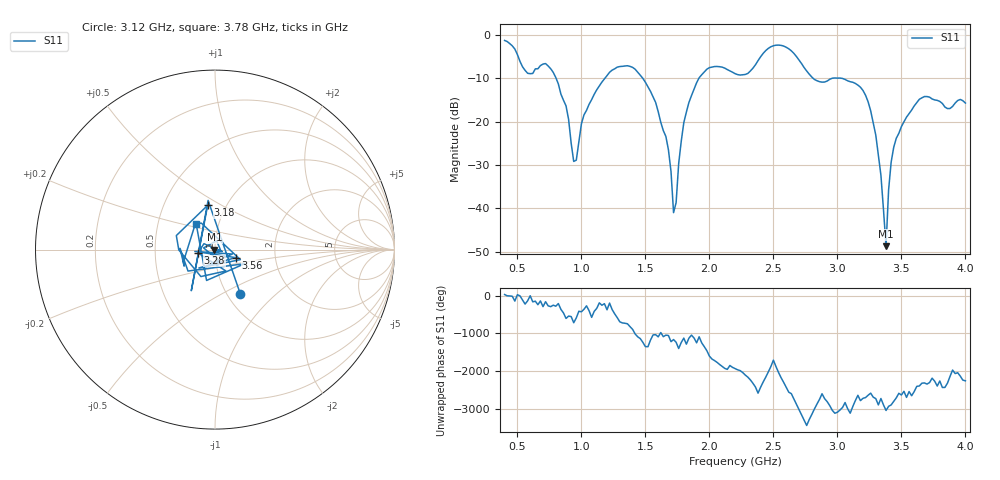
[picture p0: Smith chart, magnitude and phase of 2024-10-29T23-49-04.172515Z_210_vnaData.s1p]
!Created with skrf (http://scikit-rf.org).
# Hz S RI R 50.0
!freq ReS11 ImS11
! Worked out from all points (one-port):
!   181 points, 400 MHz to 4 GHz, reference 50 ohm
!   lowest |S11| = -48.8 dB at 3.38 GHz (marker M1), VSWR 1.01, Z = 49.7 - j0.116 ohm
!   |S11| at or under -10 dB: 802.6 MHz to 1.183 GHz (380.7 MHz wide, 38.3 % of centre); 1.48 GHz to 1.917 GHz (437.4 MHz wide, 25.7 % of centre); 3.036 GHz to end of sweep (the widest 3 of 4)
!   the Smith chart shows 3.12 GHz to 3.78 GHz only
!   S11 on the Smith chart (normalised r, x): 3.12 GHz: 1.15, -0.62; 3.18 GHz: 0.82, +0.43; 3.28 GHz: 0.83, -0.03; 3.56 GHz: 1.25, -0.11; 3.78 GHz: 0.78, +0.23
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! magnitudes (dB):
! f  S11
! 400 MHz  -1.2
! 580 MHz  -8.8
! 740 MHz  -7.1
! 860 MHz  -15.1
! 960 MHz  -28.9
! 1.02 GHz  -18.4
! 1.3 GHz  -7.3
! 1.58 GHz  -15.6
! 1.68 GHz  -26.5
! 1.72 GHz  -41.0
! 1.76 GHz  -29.7
! 1.8 GHz  -20.2
! 1.92 GHz  -9.9
! 2.2 GHz  -8.9
! 2.5 GHz  -2.5
! 2.66 GHz  -4.2
! 2.82 GHz  -10.2
! 3.1 GHz  -10.8
! 3.12 GHz  -10.9
! 3.18 GHz  -12.0
! 3.28 GHz  -20.3
! 3.34 GHz  -32.4
! 3.38 GHz  -48.8
! 3.4 GHz  -35.8
! 3.44 GHz  -25.9
! 3.56 GHz  -18.2
! 3.78 GHz  -15.1
! 4 GHz  -15.7
